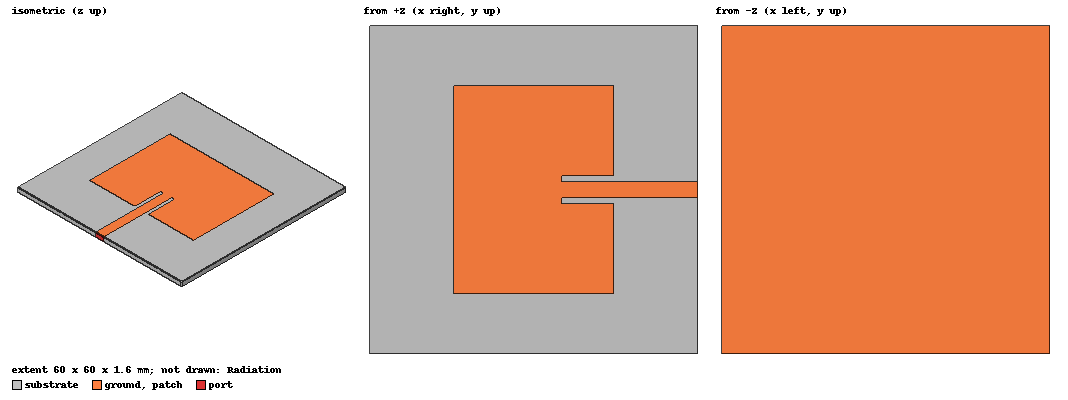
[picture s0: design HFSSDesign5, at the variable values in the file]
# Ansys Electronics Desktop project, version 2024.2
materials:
  vacuum: permittivity=1
  FR4_epoxy: permittivity=4.4 dielectric_loss_tangent=0.02
  air: permittivity=1.0006 permeability=1.0000004

design HFSSDesign5 (HFSS, HFSS Terminal Network, model units mm)
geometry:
  ground = rectangle(corner=(-30mm, -30mm, 0mm), x_size=60mm, y_size=60mm)
  substrate [FR4_epoxy] = box(corner=(-30mm, -30mm, 0mm), size=(60mm, 60mm, 1.6mm))
  patch = rectangle(corner=((-29.4/2) mm, (-38/2) mm, 1.6mm), x_size=29.4mm, y_size=38mm)
  feed = rectangle(corner=(0mm, -1.5mm, 1.6mm), x_size=30mm, y_size=3mm)
  cut = rectangle(corner=(14.7mm, -2.5mm, 1.6mm), x_size=-9.5mm, y_size=5mm)
  patch.subtract(cut)
  patch.unite(feed)
  port = rectangle(corner=(30mm, -1.5mm, 1.6mm), y_size=3mm, z_size=-1.6mm)
  Radiation [air] = box(corner=(-40mm, -40mm, -20mm), size=(80mm, 80mm, 40mm))
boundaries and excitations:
  PerfE1: Perfect E Objects=[ground, patch]
  Rad1: Radiation Objects=Radiation
  1: Lumped Port Objects=port LumpedPortType=Modal Modes{Mode1{IntLine{(30, 0, 0) -> (30, 0, 1.6)} CharImp=Zpi RenormImp=50ohm}} Impedance=50ohm
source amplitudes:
  1:1: 1V 0deg
